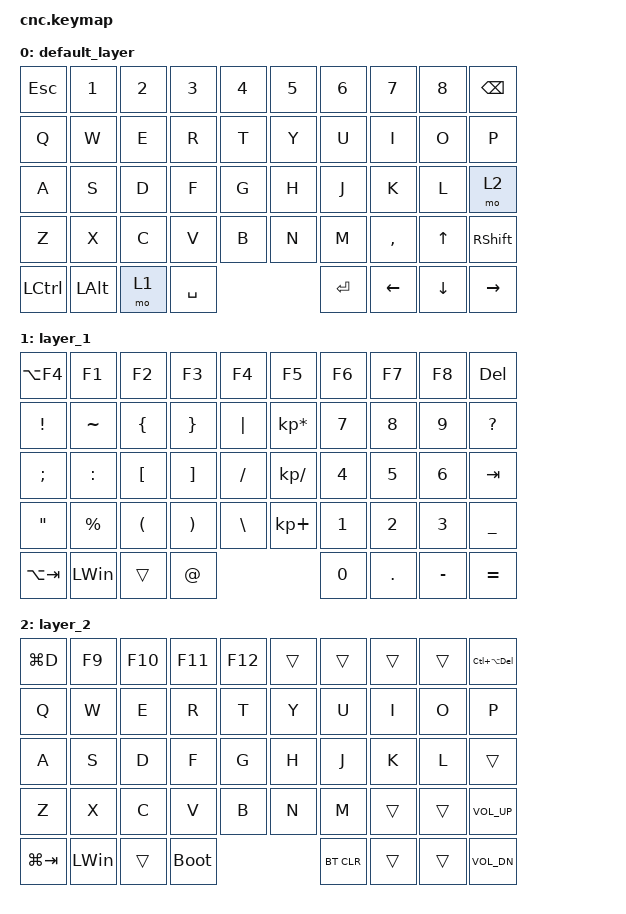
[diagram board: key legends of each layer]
/*
 * Copyright (c) 2020 The ZMK Contributors
 *
 * SPDX-License-Identifier: MIT
 */

#include <behaviors.dtsi>
#include <dt-bindings/zmk/bt.h>
#include <dt-bindings/zmk/keys.h>

/ {
    keymap0: keymap {
        compatible = "zmk,keymap";

        default_layer {
            bindings = <
&kp ESC    &kp N1    &kp N2  &kp N3     &kp N4  &kp N5  &kp N6     &kp N7     &kp N8    &kp BSPC
&kp Q      &kp W     &kp E   &kp R      &kp T   &kp Y   &kp U      &kp I      &kp O     &kp P
&kp A      &kp S     &kp D   &kp F      &kp G   &kp H   &kp J      &kp K      &kp L     &mo 2
&kp Z      &kp X     &kp C   &kp V      &kp B   &kp N   &kp M      &kp COMMA  &kp UP    &kp RIGHT_SHIFT
&kp LCTRL  &kp LALT  &mo 1   &kp SPACE                  &kp ENTER  &kp LEFT   &kp DOWN  &kp RIGHT
            >;
        };

        layer_1 {
            bindings = <
&kp LA(F4)   &kp F1     &kp F2                &kp F3                 &kp F4    &kp F5           &kp F6  &kp F7   &kp F8     &kp DELETE
&kp EXCL     &kp TILDE  &kp LEFT_BRACE        &kp RIGHT_BRACE        &kp PIPE  &kp KP_MULTIPLY  &kp N7  &kp N8   &kp N9     &kp QUESTION
&kp SEMI     &kp COLON  &kp LEFT_BRACKET      &kp RIGHT_BRACKET      &kp FSLH  &kp KP_DIVIDE    &kp N4  &kp N5   &kp N6     &kp TAB
&kp DQT      &kp PRCNT  &kp LEFT_PARENTHESIS  &kp RIGHT_PARENTHESIS  &kp BSLH  &kp KP_PLUS      &kp N1  &kp N2   &kp N3     &kp UNDER
&kp LA(TAB)  &kp LWIN   &trans                &kp AT                                            &kp N0  &kp DOT  &kp MINUS  &kp EQUAL
            >;
        };

        layer_2 {
            bindings = <
&kp LG(D)    &kp F9        &kp F10  &kp F11      &kp F12  &trans  &trans      &trans  &trans  &kp LC(LA(DELETE))
&kp Q        &kp W         &kp E    &kp R        &kp T    &kp Y   &kp U       &kp I   &kp O   &kp P
&kp A        &kp S         &kp D    &kp F        &kp G    &kp H   &kp J       &kp K   &kp L   &trans
&kp Z        &kp X         &kp C    &kp V        &kp B    &kp N   &kp M       &trans  &trans  &kp C_VOL_UP
&kp LG(TAB)  &kp LEFT_WIN  &trans   &bootloader                   &bt BT_CLR  &trans  &trans  &kp C_VOL_DN
            >;
        };
    };
};
